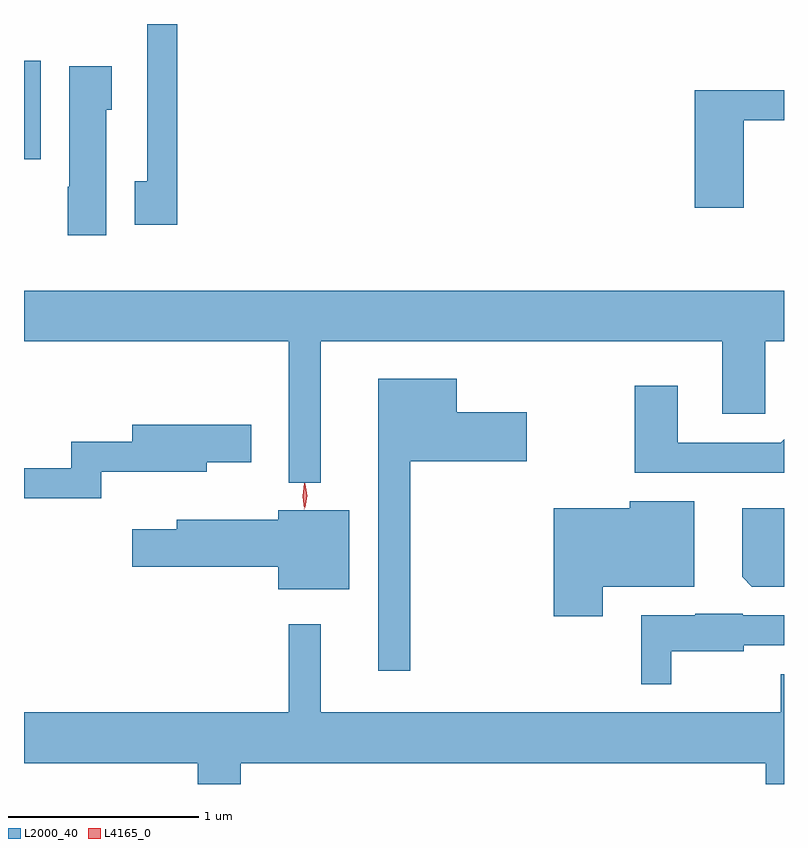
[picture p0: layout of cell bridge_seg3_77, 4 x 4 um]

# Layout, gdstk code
import gdstk
lib = gdstk.Library(unit=1e-6, precision=1e-09)
def R(c, l, rs):  # rectangles x0, y0, x1, y1
    for r in rs: c.add(gdstk.rectangle(r[:2], r[2:], *l))
def P(c, l, *ps):  # polygons
    for p in ps: c.add(gdstk.Polygon(p, *l))
L2000_40 = (2000, 40)
L4165_0 = (4165, 0)

bridge_seg3_77 = lib.new_cell('bridge_seg3_77')
R(bridge_seg3_77, L2000_40, [(1146.357,1164.716,1146.444,1165.234)])
P(bridge_seg3_77, L2000_40, [(1147.164,1165.427),(1147.006,1165.427),(1147.006,1164.599),(1146.941,1164.599),(1146.941,1164.371),(1147.164,1164.371)],
  [(1146.789,1164.976),(1146.819,1164.976),(1146.819,1165.204),(1146.596,1165.204),(1146.596,1164.57),(1146.586,1164.57),(1146.586,1164.316),(1146.789,1164.316)],
  [(1150.144,1164.921),(1150.357,1164.921),(1150.357,1165.079),(1149.886,1165.079),(1149.886,1164.461),(1150.144,1164.461)],
  [(1147.919,1163.756),(1150.031,1163.756),(1150.031,1163.376),(1150.259,1163.376),(1150.259,1163.756),(1150.357,1163.756),(1150.357,1164.024),(1146.357,1164.024),(1146.357,1163.756),(1147.751,1163.756),(1147.751,1163.013),(1147.919,1163.013)],
  [(1148.389,1163.126),(1149.004,1163.126),(1149.004,1163.384),(1148.634,1163.384),(1148.634,1163.559),(1148.221,1163.559),(1148.221,1162.023),(1148.389,1162.023)],
  [(1150.357,1163.242),(1150.339,1163.224),(1149.799,1163.224),(1149.799,1163.524),(1149.571,1163.524),(1149.571,1163.066),(1150.357,1163.066)],
  [(1146.764,1163.071),(1147.319,1163.071),(1147.319,1163.121),(1147.554,1163.121),(1147.554,1163.319),(1146.926,1163.319),(1146.926,1163.229),(1146.606,1163.229),(1146.606,1163.089),(1146.357,1163.089),(1146.357,1162.931),(1146.764,1162.931)],
  [(1149.404,1162.466),(1149.884,1162.466),(1149.884,1162.914),(1149.546,1162.914),(1149.546,1162.879),(1149.146,1162.879),(1149.146,1162.311),(1149.404,1162.311)],
  [(1150.357,1162.879),(1150.136,1162.879),(1150.136,1162.517),(1150.187,1162.466),(1150.357,1162.466)],
  [(1148.069,1162.869),(1147.696,1162.869),(1147.696,1162.819),(1147.161,1162.819),(1147.161,1162.769),(1146.926,1162.769),(1146.926,1162.571),(1147.696,1162.571),(1147.696,1162.451),(1148.069,1162.451)],
  [(1149.764,1162.126),(1150.144,1162.126),(1150.144,1162.156),(1150.357,1162.156),(1150.357,1162.314),(1150.14,1162.314),(1150.14,1162.324),(1149.89,1162.324),(1149.89,1162.314),(1149.606,1162.314),(1149.606,1161.953),(1149.764,1161.953)],
  [(1147.499,1161.536),(1150.261,1161.536),(1150.261,1161.427),(1150.357,1161.427),(1150.357,1162.004),(1150.341,1162.004),(1150.341,1161.804),(1147.919,1161.804),(1147.919,1162.268),(1147.751,1162.268),(1147.751,1161.804),(1146.357,1161.804),(1146.357,1161.536),(1147.271,1161.536),(1147.271,1161.427),(1147.499,1161.427)])
P(bridge_seg3_77, L4165_0, [(1147.832,1162.874),(1147.831,1162.875),(1147.823,1162.942),(1147.833,1163.01),(1147.834,1163.01),(1147.834,1163.01),(1147.843,1162.942),(1147.832,1162.875)],
  [(1147.838,1162.881),(1147.838,1162.881),(1147.827,1162.944),(1147.836,1163.006),(1147.836,1163.007),(1147.837,1163.006),(1147.847,1162.944),(1147.838,1162.881)])

lib.write_gds('bridge_seg3_77.gds')
